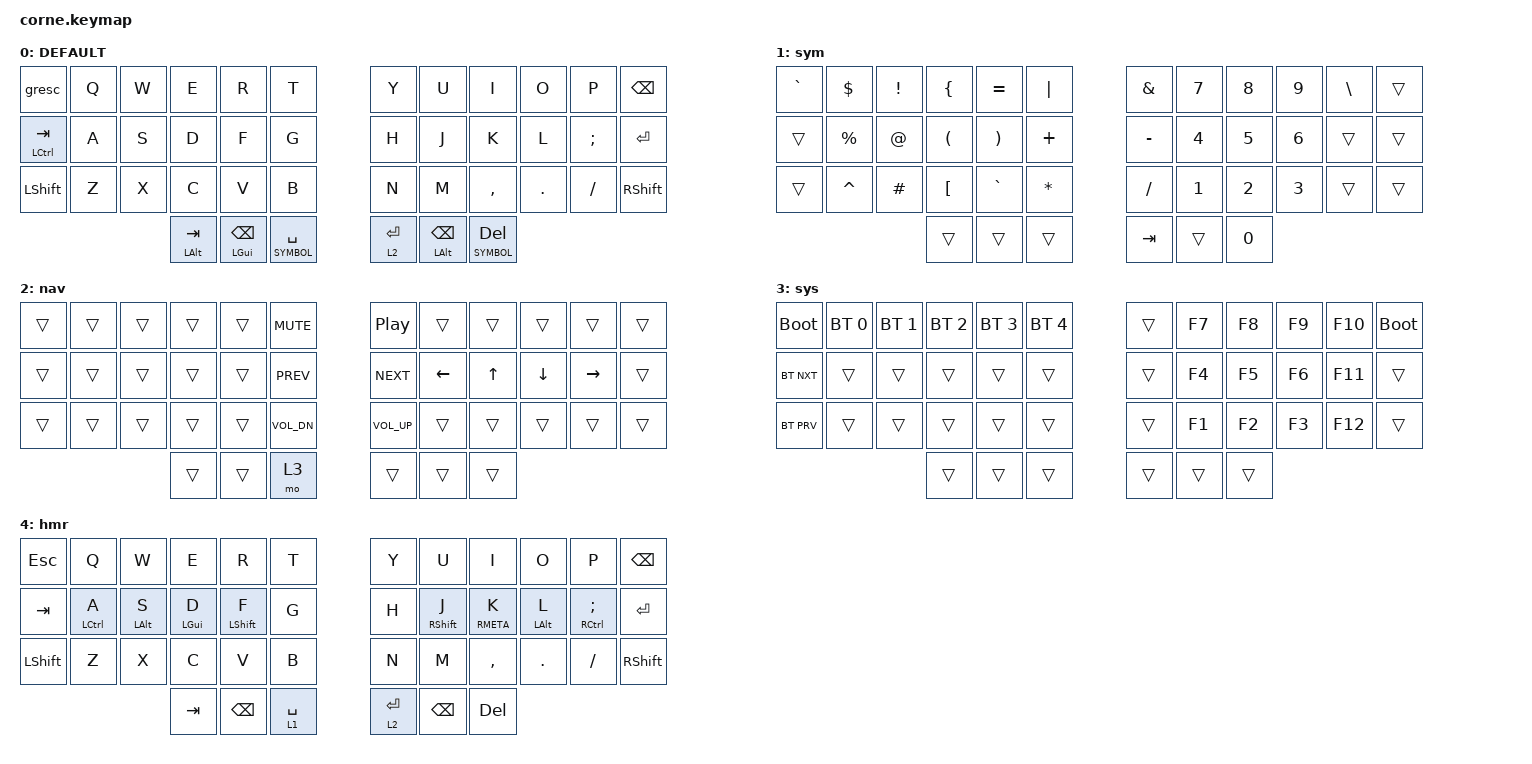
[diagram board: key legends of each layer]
/*
 * Copyright (c) 2020 The ZMK Contributors
 *
 * SPDX-License-Identifier: MIT
 */

#include <behaviors.dtsi>
#include <dt-bindings/zmk/bt.h>
#include <dt-bindings/zmk/keys.h>

#define DEFAULT 0
#define SYMBOL 1

&lt { quick_tap_ms = <220>; };

&mt {
    flavor = "tap-preferred";
    tapping-term-ms = <170>;
    retro-tap;
    quick-tap-ms = <200>;
    require-prior-idle-ms = <50>;
};

/ {
};

// Keymaps!

/ {
    behaviors {
        tdhrm: tdhrm {
            compatible = "zmk,behavior-tap-dance";
            label = "TDHRM";
            #binding-cells = <0>;
            bindings = <&kp EQUAL>, <&tog 1>;
        };

        hm: homerow_mods {
            compatible = "zmk,behavior-hold-tap";
            #binding-cells = <2>;
            tapping-term-ms = <240>;
            quick-tap-ms = <200>;
            flavor = "tap-preferred";
            bindings = <&kp>, <&kp>;

            require-prior-idle-ms = <125>;
        };
    };

    combos {
        compatible = "zmk,combos";

        Escape {
            bindings = <&kp ESCAPE>;
            key-positions = <0 1>;
        };

        lbracecombo {
            bindings = <&kp LEFT_BRACE>;
            key-positions = <3 4>;
        };

        lparcombo {
            bindings = <&kp LEFT_PARENTHESIS>;
            key-positions = <15 16>;
        };

        lbracketcombo {
            bindings = <&kp LEFT_BRACKET>;
            key-positions = <27 28>;
        };

        rbracecombo {
            bindings = <&kp RIGHT_BRACE>;
            key-positions = <7 8>;
        };

        rparcombo {
            bindings = <&kp RIGHT_PARENTHESIS>;
            key-positions = <19 20>;
        };

        rbracketcombo {
            bindings = <&kp RIGHT_BRACKET>;
            key-positions = <31 32>;
        };
    };

    keymap {
        compatible = "zmk,keymap";

        DEFAULT {
            // --------------------------------------------------------------
            //| LGUI/] |  Q  |  W  |  E  |  R  |  T  |   |  Y  |  U   |  I  |  O  |  P  | RGUI/[ | 
            //| CTRL/` |  A  |  S  |  D  |  F  |  G  |   |  H  |  J   |  K  |  L  |  ;  | CTRL/' |
            //| LALT/\ |  Z  |  X  |  C  |  V  |  B  |   |  N  |  M   |  ,  |  .  |  /  | RALT/- |
            //                             | RSE | SPC | LWR |   | LWR | BKSP | RSE |

            bindings = <
&gresc         &kp Q  &kp W  &kp E         &kp R               &kp T               &kp Y        &kp U              &kp I           &kp O    &kp P     &kp BACKSPACE
&mt LCTRL TAB  &kp A  &kp S  &kp D         &kp F               &kp G               &kp H        &kp J              &kp K           &kp L    &kp SEMI  &kp ENTER
&kp LSHFT      &kp Z  &kp X  &kp C         &kp V               &kp B               &kp N        &kp M              &kp COMMA       &kp DOT  &kp FSLH  &kp RSHIFT
                             &mt LALT TAB  &mt LGUI BACKSPACE  &lt SYMBOL SPACE    &lt 2 ENTER  &mt LEFT_ALT BSPC  &lt SYMBOL DEL
            >;
        };

        SYMBOL {
            bindings = <
&kp GRAVE  &kp DOLLAR   &kp EXCLAMATION  &kp LEFT_BRACE        &kp EQUAL              &kp PIPE        &kp AMPERSAND  &kp NUMBER_7  &kp NUMBER_8  &kp N9        &kp BACKSLASH  &trans
&trans     &kp PERCENT  &kp AT_SIGN      &kp LEFT_PARENTHESIS  &kp RIGHT_PARENTHESIS  &kp PLUS        &kp MINUS      &kp NUMBER_4  &kp N5        &kp NUMBER_6  &trans         &trans
&trans     &kp CARET    &kp HASH         &kp LEFT_BRACKET      &kp GRAVE              &kp ASTERISK    &kp SLASH      &kp NUMBER_1  &kp NUMBER_2  &kp NUMBER_3  &trans         &trans
                                         &trans                &trans                 &trans          &kp TAB        &trans        &kp N0
            >;

            label = "sym";
        };

        NAVIGATION {
            bindings = <
&trans  &trans  &trans  &trans  &trans  &kp C_MUTE      &kp C_PP         &trans    &trans        &trans    &trans     &trans
&trans  &trans  &trans  &trans  &trans  &kp C_PREV      &kp C_NEXT       &kp LEFT  &kp UP_ARROW  &kp DOWN  &kp RIGHT  &trans
&trans  &trans  &trans  &trans  &trans  &kp C_VOL_DN    &kp C_VOLUME_UP  &trans    &trans        &trans    &trans     &trans
                        &trans  &trans  &mo 3           &trans           &trans    &trans
            >;

            label = "nav";
        };

        SYSTEM {
            bindings = <
&bootloader  &bt BT_SEL 0  &bt BT_SEL 1  &bt BT_SEL 2  &bt BT_SEL 3  &bt BT_SEL 4    &trans  &kp F7  &kp F8  &kp F9  &kp F10  &bootloader
&bt BT_NXT   &trans        &trans        &trans        &trans        &trans          &trans  &kp F4  &kp F5  &kp F6  &kp F11  &trans
&bt BT_PRV   &trans        &trans        &trans        &trans        &trans          &trans  &kp F1  &kp F2  &kp F3  &kp F12  &trans
                                         &trans        &trans        &trans          &trans  &trans  &trans
            >;

            label = "sys";
        };

        hmr {
            bindings = <
&kp ESC    &kp Q        &kp W           &kp E           &kp R        &kp T          &kp Y        &kp U         &kp I        &kp O           &kp P                &kp BSPC
&kp TAB    &hm LCTRL A  &hm LEFT_ALT S  &hm LEFT_GUI D  &hm LSHFT F  &kp G          &kp H        &hm RSHIFT J  &hm RMETA K  &hm LEFT_ALT L  &hm RCTRL SEMICOLON  &kp RET
&kp LSHFT  &kp Z        &kp X           &kp C           &kp V        &kp B          &kp N        &kp M         &kp COMMA    &kp DOT         &kp FSLH             &kp RSHIFT
                                        &kp TAB         &kp BSPC     &lt 1 SPACE    &lt 2 ENTER  &kp BSPC      &kp DEL
            >;
        };
    };
};
